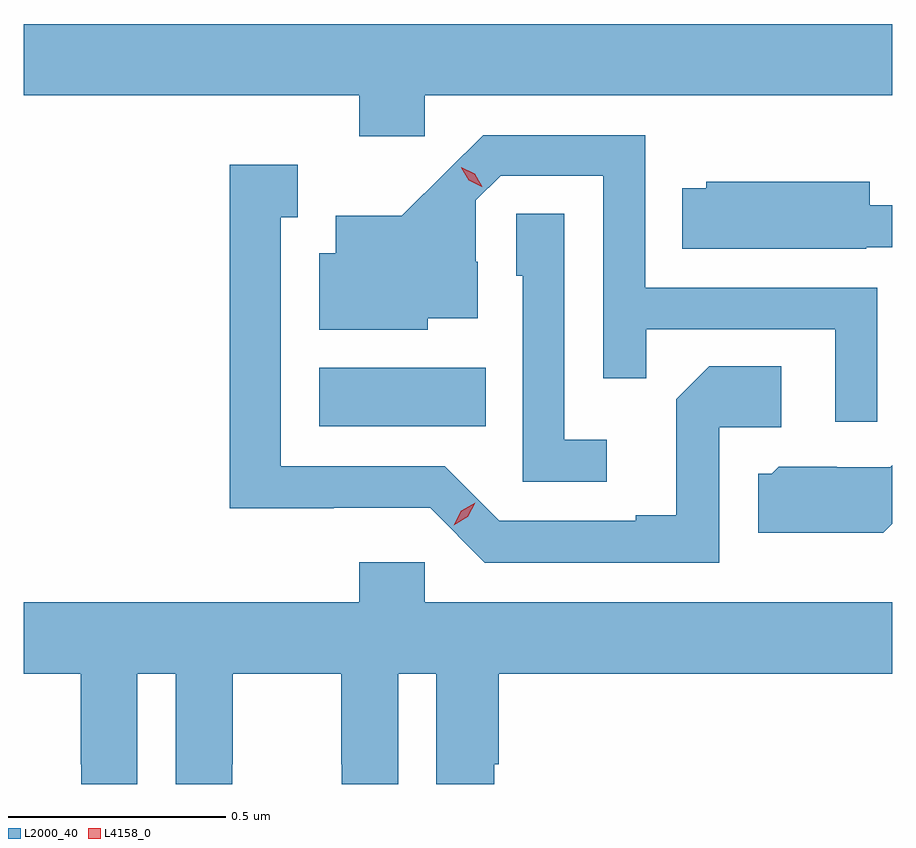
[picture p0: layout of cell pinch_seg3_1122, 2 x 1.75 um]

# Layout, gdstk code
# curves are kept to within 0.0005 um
import gdstk
lib = gdstk.Library(unit=1e-6, precision=1e-09)
def R(c, l, rs):  # rectangles x0, y0, x1, y1
    for r in rs: c.add(gdstk.rectangle(r[:2], r[2:], *l))
def P(c, l, *ps):  # polygons
    for p in ps: c.add(gdstk.Polygon(p, *l))
L2000_40 = (2000, 40)
L4158_0 = (4158, 0)

pinch_seg3_1122 = lib.new_cell('pinch_seg3_1122')
R(pinch_seg3_1122, L2000_40, [(315.194,689.498,315.578,689.632)])
P(pinch_seg3_1122, L2000_40, [(315.438,690.26),(316.514,690.26),(316.514,690.424),(314.514,690.424),(314.514,690.26),(315.287,690.26),(315.287,690.165),(315.438,690.165)],
  [(316.479,689.817),(315.945,689.817),(315.945,690.168),(315.572,690.168),(315.385,689.983),(315.233,689.983),(315.233,689.896),(315.194,689.896),(315.194,689.72),(315.444,689.72),(315.444,689.747),(315.559,689.747),(315.559,689.876),(315.555,689.876),(315.555,690.018),(315.612,690.075),(315.849,690.075),(315.849,689.608),(315.947,689.608),(315.947,689.721),(316.383,689.721),(316.383,689.508),(316.479,689.508)],
  [(316.116,689.496),(316.258,689.496),(316.258,689.636),(316.093,689.636),(316.017,689.56),(316.017,689.293),(315.923,689.293),(315.923,689.28),(315.609,689.28),(315.483,689.406),(315.106,689.406),(315.106,689.979),(315.145,689.979),(315.145,690.1),(314.988,690.1),(314.988,689.309),(315.228,689.309),(315.228,689.31),(315.45,689.31),(315.576,689.184),(316.116,689.184)],
  [(316.454,689.91),(316.514,689.91),(316.514,690.007),(316.462,690.007),(316.462,690.061),(316.086,690.061),(316.086,690.046),(316.03,690.046),(316.03,689.906),(316.454,689.906)],
  [(315.856,689.467),(315.759,689.467),(315.759,689.987),(315.648,689.987),(315.648,689.844),(315.663,689.844),(315.663,689.37),(315.856,689.37)],
  [(316.514,689.273),(316.514,689.408),(316.509,689.403),(316.386,689.403),(316.386,689.404),(316.252,689.404),(316.236,689.388),(316.205,689.388),(316.205,689.252),(316.493,689.252)],
  [(314.776,688.928),(314.864,688.928),(314.864,688.674),(314.994,688.674),(314.994,688.72),(314.995,688.72),(314.995,688.928),(315.245,688.928),(315.245,688.72),(315.246,688.72),(315.246,688.674),(315.376,688.674),(315.376,688.928),(315.464,688.928),(315.464,688.674),(315.598,688.674),(315.598,688.72),(315.608,688.72),(315.608,688.928),(316.514,688.928),(316.514,689.092),(315.438,689.092),(315.438,689.185),(315.287,689.185),(315.287,689.092),(314.514,689.092),(314.514,688.928),(314.645,688.928),(314.645,688.72),(314.646,688.72),(314.646,688.674),(314.776,688.674)])
P(pinch_seg3_1122, L4158_0, [(315.504,689.27),(315.504,689.27),(315.522,689.303),(315.554,689.322),(315.554,689.322),(315.554,689.322),(315.536,689.289),(315.504,689.27)],
  [(315.569,690.049),(315.539,690.064),(315.521,690.093),(315.521,690.094),(315.521,690.094),(315.552,690.079),(315.57,690.049),(315.57,690.049)])

lib.write_gds('pinch_seg3_1122.gds')
